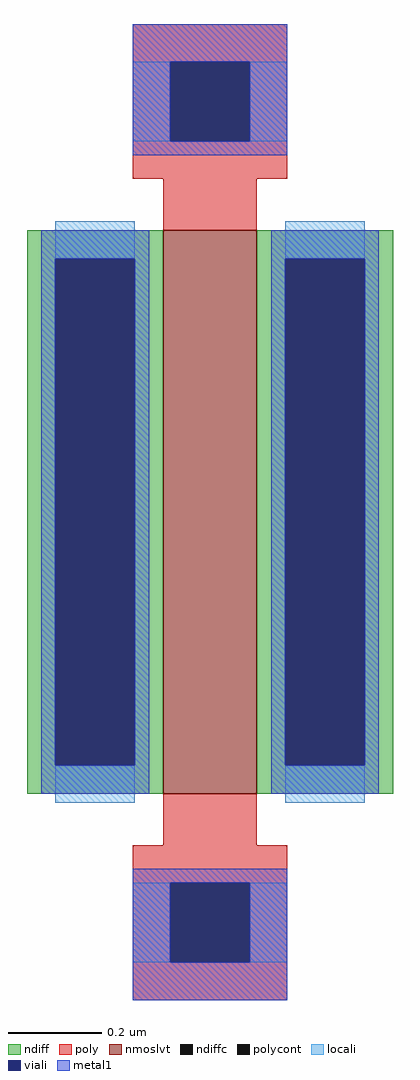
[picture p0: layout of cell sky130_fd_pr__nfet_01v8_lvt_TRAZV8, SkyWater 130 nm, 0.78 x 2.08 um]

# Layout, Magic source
magic
tech sky130A
magscale 1 2
<< nmoslvt >>
rect -20 -120 20 120
<< ndiff >>
rect -78 108 -20 120
rect -78 -108 -66 108
rect -32 -108 -20 108
rect -78 -120 -20 -108
rect 20 108 78 120
rect 20 -108 32 108
rect 66 -108 78 108
rect 20 -120 78 -108
<< ndiffc >>
rect -66 -108 -32 108
rect 32 -108 66 108
<< poly >>
rect -33 192 33 208
rect -33 158 -17 192
rect 17 158 33 192
rect -33 142 33 158
rect -20 120 20 142
rect -20 -142 20 -120
rect -33 -158 33 -142
rect -33 -192 -17 -158
rect 17 -192 33 -158
rect -33 -208 33 -192
<< polycont >>
rect -17 158 17 192
rect -17 -192 17 -158
<< locali >>
rect -33 158 -17 192
rect 17 158 33 192
rect -66 108 -32 124
rect -66 -124 -32 -108
rect 32 108 66 124
rect 32 -124 66 -108
rect -33 -192 -17 -158
rect 17 -192 33 -158
<< viali >>
rect -17 158 17 192
rect -66 -108 -32 108
rect 32 -108 66 108
rect -17 -192 17 -158
<< metal1 >>
rect -33 192 33 208
rect -33 158 -17 192
rect 17 158 33 192
rect -33 152 33 158
rect -72 108 -26 120
rect -72 -108 -66 108
rect -32 -108 -26 108
rect -72 -120 -26 -108
rect 26 108 72 120
rect 26 -108 32 108
rect 66 -108 72 108
rect 26 -120 72 -108
rect -33 -158 33 -152
rect -33 -192 -17 -158
rect 17 -192 33 -158
rect -33 -208 33 -192
<< properties >>
string gencell sky130_fd_pr__nfet_01v8_lvt
string library sky130
string parameters w 1.2 l 0.2 m 1 nf 1 diffcov 100 polycov 50 guard 0 glc 1 grc 1 gtc 1 gbc 1 tbcov 100 rlcov 100 topc 1 botc 1 poverlap 0 doverlap 1 lmin 0.15 wmin 0.42 compatible {sky130_fd_pr__nfet_01v8 sky130_fd_pr__nfet_01v8_lvt  sky130_fd_bs_flash__special_sonosfet_star  sky130_fd_pr__nfet_g5v0d10v5 sky130_fd_pr__nfet_05v0_nvt  sky130_fd_pr__nfet_03v3_nvt} full_metal 1 viasrc 100 viadrn 100 viagate 50 viagb 0 viagr 0 viagl 0 viagt 0
<< end >>
